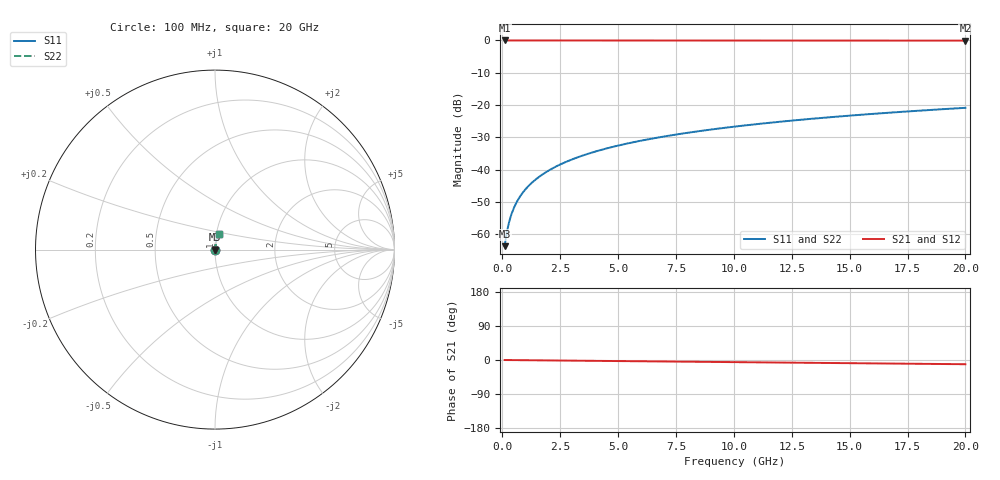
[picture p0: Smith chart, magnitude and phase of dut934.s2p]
! Touchstone file exported from HFSS 2026.1.0
!  File:  C:/ffzhzh/LocalFiles/Ansys_Project_Files/temp_train_TSV_934_1783186891_43440.aedt
!  Generated:  01:43:29 AM Jul  5, 2026
!  Design:  TSV
!  Project:  temp_train_TSV_934_1783186891_43440
! Variables:
!  h_bsmrdl = 2um
!  h_ox = 20um
!  h_rdl = 5um
!  h_sub = 98.55um
!  h_tmrdl = 5um
!  h_tsv = 98.55um
!  h_via = 3um
!  l_bsmrdl = 300um
!  l_sub = 410.9um
!  l_tmrdl = 200um
!  m_sub = 200um
!  pitch = 47.31um
!  r_tsv = 5.45um
!  s_tmrdl = 10um
!  w_bsmrdl = 18um
!  w_sub = 500um
!  w_tmrdl = 12um
!  x_tsv_center1 = 206um
!  x_tsv_center2 = 524um
!  x_tsv_center3 = 736um
!  x_tsv_center4 = 1054um
!  x_tsv_center5 = 1266um
!  x_tsv_center6 = 1584um
# GHz S MA R 50.000000
! Terminal data exported
! Port[1] = TSV1_1_T1
! Port[2] = TSV1_1_T2
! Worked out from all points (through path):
!   200 points, 100 MHz to 20 GHz, reference 50 ohm
!   highest |S21| = 0.00 dB at 100 MHz (marker M1); lowest = -0.1 dB at 20 GHz (marker M2)
!   group delay of S21, straight-line fit = 1.54 ps
!   lowest |S11| = -63.7 dB at 100 MHz (marker M3), VSWR 1.00, Z = 50 + j0.0505 ohm
!   |S11| at or under -10 dB: start of sweep to end of sweep
!   |S22| runs from -63.7 to -20.9 dB; largest |S21 - S12| = 3.6e-15
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0.1  0.0006506 50.9  0.9996 -0.1  0.9996 -0.1  0.0006506 50.9
! Gamma 0 0 0 0
! Port Impedance 50 0 50 0
0.2  0.001092 67.3  0.9996 -0.1  0.9996 -0.1  0.001092 67.3
0.3  0.00157 73.8  0.9996 -0.2  0.9996 -0.2  0.00157 73.8
0.4  0.002056 77.1  0.9995 -0.2  0.9995 -0.2  0.002056 77.1
0.5  0.002542 79.0  0.9995 -0.3  0.9995 -0.3  0.002542 79.0
0.7  0.003509 81.1  0.9995 -0.4  0.9995 -0.4  0.003509 81.1
0.8  0.003988 81.8  0.9995 -0.5  0.9995 -0.5  0.003988 81.8
1  0.004941 82.7  0.9994 -0.6  0.9994 -0.6  0.004941 82.7
1.2  0.005888 83.3  0.9994 -0.7  0.9994 -0.7  0.005888 83.3
1.4  0.006831 83.7  0.9993 -0.8  0.9993 -0.8  0.006831 83.7
1.7  0.00824 84.1  0.9992 -1.0  0.9992 -1.0  0.00824 84.1
2  0.009646 84.4  0.9992 -1.1  0.9992 -1.1  0.009646 84.4
2.7  0.01291 84.6  0.999 -1.5  0.999 -1.5  0.01291 84.6
3.5  0.01662 84.6  0.9989 -2.0  0.9989 -2.0  0.01662 84.6
4.2  0.01985 84.5  0.9987 -2.4  0.9987 -2.4  0.01985 84.5
5  0.02351 84.2  0.9985 -2.8  0.9985 -2.8  0.02351 84.2
6.8  0.0317 83.6  0.9981 -3.8  0.9981 -3.8  0.0317 83.6
8.3  0.03848 83.0  0.9977 -4.7  0.9977 -4.7  0.03848 83.0
10.1  0.04658 82.2  0.9972 -5.7  0.9972 -5.7  0.04658 82.2
13.4  0.06135 80.7  0.9962 -7.5  0.9962 -7.5  0.06135 80.7
16.7  0.07598 79.0  0.9949 -9.3  0.9949 -9.3  0.07598 79.0
20  0.09043 77.3  0.9935 -11.1  0.9935 -11.1  0.09043 77.3
